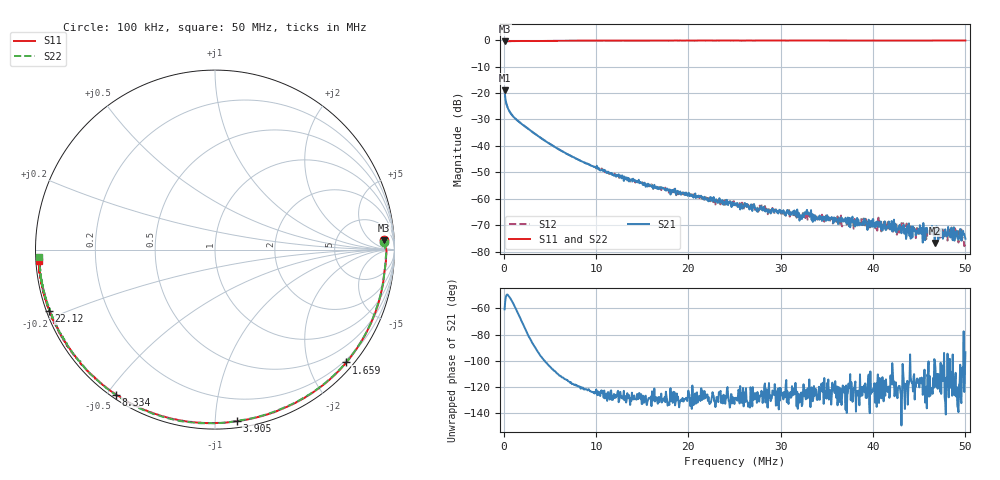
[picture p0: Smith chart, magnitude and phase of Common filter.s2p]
#  HZ  S  DB  R  50.0
! Rohde & Schwarz ZVL13 2Ports - Version 3.32 - 1303.6509k13 SN: 100950
! Date: 2021-08-05 11:30:24
! Messung-Serienkreis ----c-L 8MHz
! Data & Calibration Information:
! Trc1:S11(TOSM) Trc2:S21(TOSM) Trc3:S12(TOSM) Trc4:S22(TOSM)
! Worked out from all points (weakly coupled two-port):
!   801 points, 100 kHz to 50 MHz, reference 50 ohm
!   highest |S21| = -18.95 dB at 100 kHz (marker M1); lowest = -76.8 dB at 46.69 MHz (marker M2)
!   lowest |S11| = -0.5 dB at 100 kHz (marker M3), VSWR 35.33, Z = 928 + j881 ohm
!   |S11| at or under -10 dB: nowhere
!   |S22| runs from -0.5 to -0.1 dB; largest |S21 - S12| = 0.00053
!   S11 on the Smith chart (normalised r, x): 100 kHz: 19, +18; 1.659 MHz: 0.15, -2.69; 3.905 MHz: 0.04, -1.13; 8.334 MHz: 0.01, -0.53; 22.12 MHz: 0.01, -0.18; 50 MHz: 0.01, -0.03
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100000  -0.49 3.1  -18.95 -60.7  -18.95 -60.5  -0.51 2.5
661375  -0.38 -15.7  -27.16 -51.6  -27.11 -51.4  -0.38 -19.2
1659375  -0.31 -40.6  -30.90 -65.4  -30.85 -65.6  -0.32 -48.5
2657375  -0.32 -62.1  -33.53 -80.7  -33.54 -80.6  -0.34 -71.8
3904875  -0.32 -82.8  -36.68 -95.4  -36.65 -94.8  -0.27 -93.0
5900875  -0.24 -106.1  -41.16 -110.4  -41.13 -110.4  -0.18 -116.2
8333500  -0.19 -124.3  -45.66 -121.5  -45.70 -120.7  -0.18 -133.0
8458250  -0.19 -125.0  -45.80 -120.5  -45.81 -120.6  -0.17 -133.6
1.163938e7  -0.15 -139.0  -50.35 -122.7  -50.39 -127.4  -0.17 -146.0
1.675412e7  -0.14 -151.9  -56.26 -127.9  -56.37 -131.4  -0.18 -156.8
2.211838e7  -0.11 -159.8  -60.77 -130.9  -60.42 -129.2  -0.17 -163.5
2.505e7  -0.13 -162.7  -61.67 -128.5  -61.98 -125.9  -0.15 -166.0
3.3034e7  -0.14 -168.7  -65.26 -124.1  -65.61 -130.6  -0.16 -171.1
3.340825e7  -0.14 -168.8  -65.85 -125.1  -65.97 -125.0  -0.15 -171.3
4.170412e7  -0.13 -173.0  -68.57 -119.8  -70.15 -119.4  -0.18 -174.8
4.307638e7  -0.13 -173.7  -73.04 -149.6  -69.16 -118.1  -0.16 -175.4
4.382488e7  -0.15 -174.0  -72.77 -120.0  -71.40 -109.1  -0.17 -175.6
4.482288e7  -0.16 -174.4  -72.26 -113.9  -73.23 -106.7  -0.17 -176.0
4.669412e7  -0.13 -175.1  -76.77 -100.0  -75.95 -108.4  -0.17 -176.7
4.713075e7  -0.14 -175.3  -71.37 -115.2  -74.43 -143.3  -0.17 -176.8
4.893962e7  -0.14 -175.8  -74.04 -109.3  -72.85 -124.2  -0.17 -177.3
5e7  -0.14 -176.2  -75.11 -93.5  -76.45 -129.9  -0.16 -177.7
